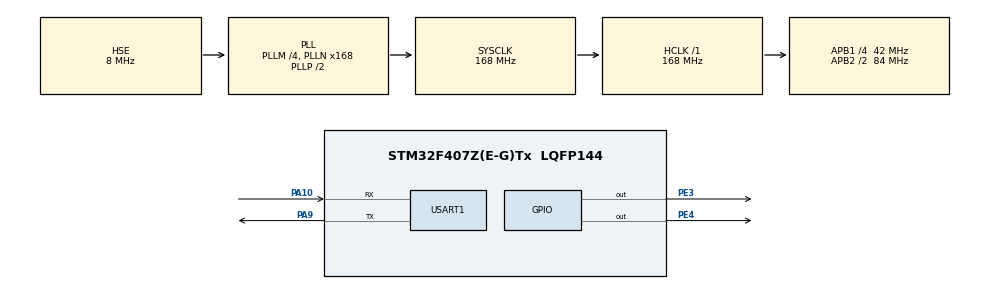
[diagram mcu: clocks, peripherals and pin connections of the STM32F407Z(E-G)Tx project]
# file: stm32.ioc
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Dma.Request0=USART1_RX
Dma.USART1_RX.0.Direction=DMA_PERIPH_TO_MEMORY
Dma.USART1_RX.0.FIFOMode=DMA_FIFOMODE_DISABLE
Dma.USART1_RX.0.Instance=DMA2_Stream2
Dma.USART1_RX.0.MemDataAlignment=DMA_MDATAALIGN_BYTE
Dma.USART1_RX.0.MemInc=DMA_MINC_ENABLE
Dma.USART1_RX.0.Mode=DMA_CIRCULAR
Dma.USART1_RX.0.PeriphDataAlignment=DMA_PDATAALIGN_BYTE
Dma.USART1_RX.0.PeriphInc=DMA_PINC_DISABLE
Dma.USART1_RX.0.Priority=DMA_PRIORITY_VERY_HIGH
Mcu.Family=STM32F4
Mcu.Name=STM32F407Z(E-G)Tx
Mcu.Package=LQFP144
NVIC.DMA2_Stream2_IRQn=true\:0\:0\:false\:false\:true\:false\:true\:true
NVIC.PriorityGroup=NVIC_PRIORITYGROUP_4
NVIC.USART1_IRQn=true\:0\:0\:false\:false\:true\:true\:true\:true
PA10.Mode=Asynchronous
PA10.Signal=USART1_RX
PA13.Mode=Serial_Wire
PA13.Signal=SYS_JTMS-SWDIO
PA14.Mode=Serial_Wire
PA14.Signal=SYS_JTCK-SWCLK
PA9.Mode=Asynchronous
PA9.Signal=USART1_TX
PE3.PinState=GPIO_PIN_SET
PE3.Signal=GPIO_Output
PE4.PinState=GPIO_PIN_SET
PE4.Signal=GPIO_Output
PH0-OSC_IN.Mode=HSE-External-Oscillator
PH0-OSC_IN.Signal=RCC_OSC_IN
PH1-OSC_OUT.Mode=HSE-External-Oscillator
PH1-OSC_OUT.Signal=RCC_OSC_OUT
ProjectManager.HeapSize=0x200
ProjectManager.StackSize=0x400
ProjectManager.TargetToolchain=Makefile
RCC.48MHZClocksFreq_Value=112000000
RCC.AHBFreq_Value=168000000
RCC.APB1CLKDivider=RCC_HCLK_DIV4
RCC.APB1Freq_Value=42000000
RCC.APB1TimFreq_Value=84000000
RCC.APB2CLKDivider=RCC_HCLK_DIV2
RCC.APB2Freq_Value=84000000
RCC.APB2TimFreq_Value=168000000
RCC.CortexFreq_Value=168000000
RCC.HCLKFreq_Value=168000000
RCC.HSE_VALUE=8000000
RCC.HSI_VALUE=16000000
RCC.LSE_VALUE=32768
RCC.PLLM=4
RCC.PLLN=168
RCC.PLLQ=3
RCC.PLLSourceVirtual=RCC_PLLSOURCE_HSE
RCC.SYSCLKFreq_VALUE=168000000
RCC.SYSCLKSource=RCC_SYSCLKSOURCE_PLLCLK
RCC.VCOOutputFreq_Value=336000000
USART1.VirtualMode=VM_ASYNC
board=custom

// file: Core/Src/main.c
/* USER CODE BEGIN Header */
/**
  ******************************************************************************
  * @file           : main.c
  * @brief          : Main program body
  ******************************************************************************
  * @attention
  *
  * Copyright (c) 2026 STMicroelectronics.
  * All rights reserved.
  *
  * This software is licensed under terms that can be found in the LICENSE file
  * in the root directory of this software component.
  * If no LICENSE file comes with this software, it is provided AS-IS.
  *
  ******************************************************************************
  */
/* USER CODE END Header */
#include "main.h"
#include "dma.h"
#include "usart.h"
#include "gpio.h"

/* USER CODE BEGIN Includes */
#include "boot_uart_dma.h"
#include "boot_flash.h"
#include "boot_config.h"
/* USER CODE END Includes */

void SystemClock_Config(void);

int main(void)
{

  /* MCU Configuration--------------------------------------------------------*/

  /* Reset of all peripherals, Initializes the Flash interface and the Systick. */
  HAL_Init();

  /* Configure the system clock */
  SystemClock_Config();

  /* Initialize all configured peripherals */
  MX_GPIO_Init();
  MX_DMA_Init();
  MX_USART1_UART_Init();
  /* USER CODE BEGIN 2 */
  boot_uart_init();
  /* USER CODE END 2 */

  /* Infinite loop */
  while (1)
  {

    /* USER CODE BEGIN 3 */
    static uint32_t boot_start_tick = 0;
    uint32_t now = HAL_GetTick();
    static uint32_t led_time = 0;
    if(boot_start_tick == 0){
        boot_start_tick = now;
        led_time = now;
    }
    if(now - led_time > 500){
        HAL_GPIO_TogglePin(GPIOE,GPIO_PIN_4);
        led_time = now;
    }
    boot_process_packet();
    if(now - boot_start_tick > BOOT_WAIT_MS && OTA_State == OTA_STATE_IDLE){
      Jump_App();
    }
  }
  /* USER CODE END 3 */
}

void SystemClock_Config(void)
{
  RCC_OscInitTypeDef RCC_OscInitStruct = {0};
  RCC_ClkInitTypeDef RCC_ClkInitStruct = {0};

  /** Configure the main internal regulator output voltage
  */
  __HAL_RCC_PWR_CLK_ENABLE();
  __HAL_PWR_VOLTAGESCALING_CONFIG(PWR_REGULATOR_VOLTAGE_SCALE1);

  /** Initializes the RCC Oscillators according to the specified parameters
  * in the RCC_OscInitTypeDef structure.
  */
  RCC_OscInitStruct.OscillatorType = RCC_OSCILLATORTYPE_HSE;
  RCC_OscInitStruct.HSEState = RCC_HSE_ON;
  RCC_OscInitStruct.PLL.PLLState = RCC_PLL_ON;
  RCC_OscInitStruct.PLL.PLLSource = RCC_PLLSOURCE_HSE;
  RCC_OscInitStruct.PLL.PLLM = 4;
  RCC_OscInitStruct.PLL.PLLN = 168;
  RCC_OscInitStruct.PLL.PLLP = RCC_PLLP_DIV2;
  RCC_OscInitStruct.PLL.PLLQ = 3;
  if (HAL_RCC_OscConfig(&RCC_OscInitStruct) != HAL_OK)
  {
    Error_Handler();
  }

  /** Initializes the CPU, AHB and APB buses clocks
  */
  RCC_ClkInitStruct.ClockType = RCC_CLOCKTYPE_HCLK|RCC_CLOCKTYPE_SYSCLK
                              |RCC_CLOCKTYPE_PCLK1|RCC_CLOCKTYPE_PCLK2;
  RCC_ClkInitStruct.SYSCLKSource = RCC_SYSCLKSOURCE_PLLCLK;
  RCC_ClkInitStruct.AHBCLKDivider = RCC_SYSCLK_DIV1;
  RCC_ClkInitStruct.APB1CLKDivider = RCC_HCLK_DIV4;
  RCC_ClkInitStruct.APB2CLKDivider = RCC_HCLK_DIV2;

  if (HAL_RCC_ClockConfig(&RCC_ClkInitStruct, FLASH_LATENCY_5) != HAL_OK)
  {
    Error_Handler();
  }
}

void Error_Handler(void)
{
  __disable_irq();
  while (1)
  {
  }
}
